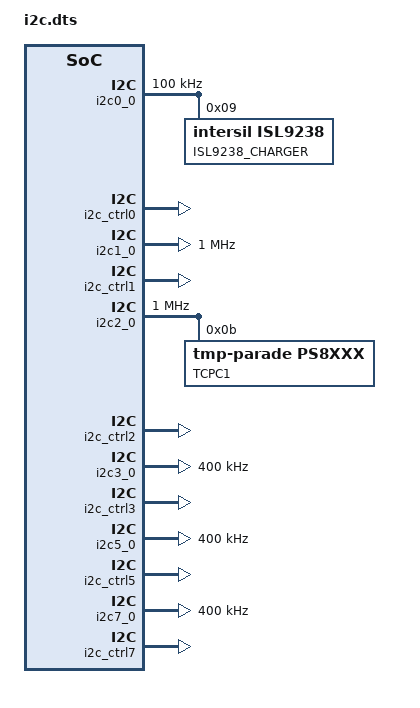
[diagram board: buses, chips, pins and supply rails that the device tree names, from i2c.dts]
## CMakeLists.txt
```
# Copyright 2021 The Chromium OS Authors. All rights reserved.
# Use of this source code is governed by a BSD-style license that can be
# found in the LICENSE file.

cmake_minimum_required(VERSION 3.13.1)

find_package(Zephyr REQUIRED HINTS $ENV{ZEPHYR_BASE})
project(lazor_tcpc_dev)

cros_ec_library_include_directories(include)

zephyr_library_sources_ifdef(CONFIG_PLATFORM_EC_USBC
  "src/power.c"
  "src/usb_pd_policy.c"
  "src/usbc_config.c")

zephyr_library_sources(
  "src/sku.c"
  "src/switchcap.c")

# Board specific implementation
zephyr_library_sources_ifdef(CONFIG_PLATFORM_EC_I2C
  "src/i2c.c")
```

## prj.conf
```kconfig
# Copyright 2021 The Chromium OS Authors. All rights reserved.
# Use of this source code is governed by a BSD-style license that can be
# found in the LICENSE file.

CONFIG_CROS_EC=y

CONFIG_USBC_THREAD_PRIORITY=10
CONFIG_LOG=y

#
# Lazor actually has a NPCX7M6FC, but
# the NPCX7M7FC is actually the same die, without the
# extra RAM being tested. The code size really could
# do with the extra space, so we pretend the EC is the
# part with the larger RAM. YMMV.
#
CONFIG_SOC_NPCX7M7FC=y
CONFIG_SOC_SERIES_NPCX7=y
CONFIG_SHIMMED_TASKS=y
CONFIG_PLATFORM_EC=y
CONFIG_PLATFORM_EC_BRINGUP=y
CONFIG_PLATFORM_EC_EXTPOWER_GPIO=y
CONFIG_PLATFORM_EC_SWITCH=y
CONFIG_PLATFORM_EC_LID_SWITCH=y
CONFIG_PLATFORM_EC_BACKLIGHT_LID=y
CONFIG_PLATFORM_EC_POWER_BUTTON=y

# I2C
CONFIG_I2C=y

# LED
CONFIG_PLATFORM_EC_LED_DT=y

# PWM
CONFIG_PWM=y
CONFIG_PWM_SHELL=n
CONFIG_PLATFORM_EC_PWM_DISPLIGHT=y
CONFIG_PLATFORM_EC_PWM_KBLIGHT=y

# Application Processor is Qualcomm SC7180
CONFIG_AP_ARM_QUALCOMM_SC7180=y

# Board version is selected over GPIO board ID pins.
CONFIG_PLATFORM_EC_BOARD_VERSION_GPIO=y

# LN9310 Switchcap
CONFIG_PLATFORM_EC_SWITCHCAP_LN9310=y

# Power Sequencing
CONFIG_PLATFORM_EC_POWERSEQ=y
CONFIG_PLATFORM_EC_POWERSEQ_HOST_SLEEP=y
CONFIG_PLATFORM_EC_POWER_SLEEP_FAILURE_DETECTION=y
CONFIG_PLATFORM_EC_CHIPSET_RESET_HOOK=y
CONFIG_PLATFORM_EC_CHIPSET_RESUME_INIT_HOOK=y

# Trogdor family does not use EFS2
CONFIG_PLATFORM_EC_VBOOT_EFS2=n

# MKBP event
CONFIG_PLATFORM_EC_MKBP_EVENT=y
CONFIG_PLATFORM_EC_MKBP_USE_GPIO=y

# Keyboard
CONFIG_PLATFORM_EC_KEYBOARD=y
CONFIG_PLATFORM_EC_KEYBOARD_PROTOCOL_MKBP=y
CONFIG_PLATFORM_EC_MKBP_INPUT_DEVICES=y
CONFIG_PLATFORM_EC_KEYBOARD_COL2_INVERTED=y
CONFIG_PLATFORM_EC_VOLUME_BUTTONS=y
CONFIG_PLATFORM_EC_CMD_BUTTON=y
CONFIG_CROS_KB_RAW_NPCX=y

# ADC
CONFIG_PLATFORM_EC_ADC=y
CONFIG_ADC=y
CONFIG_ADC_SHELL=n

# Battery
CONFIG_PLATFORM_EC_BATTERY=y
CONFIG_PLATFORM_EC_BATTERY_SMART=y
CONFIG_PLATFORM_EC_I2C_VIRTUAL_BATTERY=y
CONFIG_PLATFORM_EC_I2C_PASSTHRU_RESTRICTED=y
CONFIG_PLATFORM_EC_BATTERY_FUEL_GAUGE=y
CONFIG_PLATFORM_EC_BATTERY_CUT_OFF=y
CONFIG_PLATFORM_EC_BATTERY_PRESENT_GPIO=y
CONFIG_PLATFORM_EC_CHARGER_ISL9238=y
CONFIG_PLATFORM_EC_CHARGE_RAMP_HW=y
CONFIG_PLATFORM_EC_USE_BATTERY_DEVICE_CHEMISTRY=y
CONFIG_PLATFORM_EC_BATTERY_DEVICE_CHEMISTRY="LION"
CONFIG_PLATFORM_EC_BATTERY_REVIVE_DISCONNECT=y
CONFIG_PLATFORM_EC_CHARGER_DISCHARGE_ON_AC=y
CONFIG_PLATFORM_EC_CHARGER_DISCHARGE_ON_AC_CHARGER=y
CONFIG_PLATFORM_EC_CHARGER_MIN_BAT_PCT_FOR_POWER_ON=2
CONFIG_PLATFORM_EC_CHARGER_MIN_POWER_MW_FOR_POWER_ON=10000
CONFIG_PLATFORM_EC_CHARGER_PROFILE_OVERRIDE=y
CONFIG_PLATFORM_EC_CHARGER_PSYS=y
CONFIG_PLATFORM_EC_CHARGER_PSYS_READ=y
CONFIG_PLATFORM_EC_CHARGER_SENSE_RESISTOR=10
CONFIG_PLATFORM_EC_CHARGER_SENSE_RESISTOR_AC=20
CONFIG_PLATFORM_EC_CONSOLE_CMD_CHARGER_ADC_AMON_BMON=y

# USB-A
CONFIG_PLATFORM_EC_USBA=y

# USB-C
CONFIG_PLATFORM_EC_BC12_DETECT_PI3USB9201=y
CONFIG_PLATFORM_EC_USB_PD_USB32_DRD=n
CONFIG_PLATFORM_EC_USBC_PPC_SN5S330=y
CONFIG_PLATFORM_EC_USBC_RETIMER_FW_UPDATE=n
CONFIG_PLATFORM_EC_USBC_SS_MUX_DFP_ONLY=y
CONFIG_PLATFORM_EC_USB_DRP_ACC_TRYSRC=y
CONFIG_PLATFORM_EC_USB_PD_5V_EN_CUSTOM=y
CONFIG_PLATFORM_EC_USB_PD_VBUS_DETECT_TCPC=y
CONFIG_PLATFORM_EC_USB_PD_DISCHARGE_PPC=y
CONFIG_PLATFORM_EC_USB_PD_REV30=n
CONFIG_PLATFORM_EC_USB_PD_TCPC_LOW_POWER=y
CONFIG_PLATFORM_EC_USB_PD_TCPM_MULTI_PS8XXX=y
CONFIG_PLATFORM_EC_USB_PD_TCPM_PS8751=y
CONFIG_PLATFORM_EC_USB_PD_TCPM_PS8805=y
CONFIG_PLATFORM_EC_USB_PD_TCPC_RUNTIME_CONFIG=n
CONFIG_PLATFORM_EC_USB_MUX_RUNTIME_CONFIG=n
CONFIG_PLATFORM_EC_USB_PD_LOGGING=y

# USB ID
# This is allocated specifically for Trogdor
# http://google3/hardware/standards/usb/
# TODO(b/183608112): Move to device tree
CONFIG_PLATFORM_EC_USB_PID=0x5043

# RTC
CONFIG_PLATFORM_EC_RTC=y
CONFIG_CROS_RTC_NPCX=y
CONFIG_PLATFORM_EC_HOSTCMD_RTC=y
CONFIG_PLATFORM_EC_CONSOLE_CMD_RTC=y

# EC software sync
CONFIG_PLATFORM_EC_VBOOT_HASH=y

# Sensors
CONFIG_PLATFORM_EC_MOTIONSENSE=y
CONFIG_PLATFORM_EC_ACCEL_FIFO=y
CONFIG_PLATFORM_EC_ACCEL_INTERRUPTS=y
CONFIG_PLATFORM_EC_CONSOLE_CMD_ACCELS=y
CONFIG_PLATFORM_EC_CONSOLE_CMD_ACCEL_INFO=y
CONFIG_PLATFORM_EC_GMR_TABLET_MODE=y
CONFIG_PLATFORM_EC_LID_ANGLE=y
CONFIG_PLATFORM_EC_LID_ANGLE_UPDATE=y
CONFIG_PLATFORM_EC_SENSOR_TIGHT_TIMESTAMPS=y
CONFIG_PLATFORM_EC_TABLET_MODE=y
CONFIG_PLATFORM_EC_TABLET_MODE_SWITCH=y

# Sensor Drivers
CONFIG_PLATFORM_EC_ACCEL_BMA255=y
CONFIG_PLATFORM_EC_ACCELGYRO_BMI160=y
CONFIG_PLATFORM_EC_ACCELGYRO_BMI_COMM_I2C=y

# Console history
CONFIG_SHELL_HISTORY=y
CONFIG_SHELL_CMDS=y
CONFIG_SHELL_HELP=n
CONFIG_SHELL_MINIMAL=y

# Taskinfo
CONFIG_THREAD_MONITOR=y
CONFIG_KERNEL_SHELL=y

CONFIG_SYSCON=y

# Features should be enabled. But the code RAM is not enough, disable them.
#CONFIG_PLATFORM_EC_ACCEL_SPOOF_MODE=y
#CONFIG_PLATFORM_EC_EMULATED_SYSRQ=y
```

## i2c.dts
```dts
/* Copyright 2022 The Chromium OS Authors. All rights reserved.
 * Use of this source code is governed by a BSD-style license that can be
 * found in the LICENSE file.
 */

/ {
	named-i2c-ports {
		compatible = "named-i2c-ports";

		i2c_power: power {
			i2c-port = <&i2c0_0>;
			enum-name = "I2C_PORT_POWER";
		};
		battery {
			i2c-port = <&i2c0_0>;
			remote-port = <0>;
			enum-name = "I2C_PORT_BATTERY";
		};
		virtual-battery {
			i2c-port = <&i2c0_0>;
			enum-name = "I2C_PORT_VIRTUAL_BATTERY";
		};
		charger {
			i2c-port = <&i2c0_0>;
			enum-name = "I2C_PORT_CHARGER";
		};
		i2c_tcpc0: tcpc0 {
			i2c-port = <&i2c1_0>;
			enum-name = "I2C_PORT_TCPC0";
		};
		i2c_tcpc1: tcpc1 {
			i2c-port = <&i2c2_0>;
			enum-name = "I2C_PORT_TCPC1";
		};
		i2c_eeprom: eeprom {
			i2c-port = <&i2c5_0>;
			enum-name = "I2C_PORT_EEPROM";
		};
		i2c_sensor: sensor {
			i2c-port = <&i2c7_0>;
			enum-name = "I2C_PORT_SENSOR";
		};
		accel {
			i2c-port = <&i2c7_0>;
			enum-name = "I2C_PORT_ACCEL";
		};
	};

};

&i2c0_0 {
	status = "okay";
	clock-frequency = <I2C_BITRATE_STANDARD>;

	isl9238: isl9238@9 {
		compatible = "intersil,isl9238";
		reg = <0x09>;
		label = "ISL9238_CHARGER";
	};
};

&i2c_ctrl0 {
	status = "okay";
};

&i2c1_0 {
	status = "okay";
	clock-frequency = <I2C_BITRATE_FAST_PLUS>;
};

&i2c_ctrl1 {
	status = "okay";
};

&i2c2_0 {
	status = "okay";
	clock-frequency = <I2C_BITRATE_FAST_PLUS>;

	tcpc1: tcpc1@B {
		status = "okay";
		compatible = "tmp-parade,ps8xxx";
		label = "TCPC1";
		reg = <0x0B>;
	};
};

&i2c_ctrl2 {
	status = "okay";
};

&i2c3_0 {
	/* Not used as no WLC connected */
	clock-frequency = <I2C_BITRATE_FAST>;
};

&i2c_ctrl3 {
	status = "okay";
};

&i2c5_0 {
	status = "okay";
	clock-frequency = <I2C_BITRATE_FAST>;
};

&i2c_ctrl5 {
	status = "okay";
};

&i2c7_0 {
	status = "okay";
	clock-frequency = <I2C_BITRATE_FAST>;
};

&i2c_ctrl7 {
	status = "okay";
};
```

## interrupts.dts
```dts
/* Copyright 2022 The Chromium OS Authors. All rights reserved.
 * Use of this source code is governed by a BSD-style license that can be
 * found in the LICENSE file.
 */

/ {
	aliases {
		int-wp = &int_wp;
	};

	gpio-interrupts {
		compatible = "cros-ec,gpio-interrupts";

		int_ac_present: ac_present {
			irq-pin = <&gpio_acok_od>;
			flags = <GPIO_INT_EDGE_BOTH>;
			handler = "extpower_interrupt";
		};
		int_lid_open: lid_open {
			irq-pin = <&gpio_lid_open_ec>;
			flags = <GPIO_INT_EDGE_BOTH>;
			handler = "lid_interrupt";
		};
		int_wp: wp {
			irq-pin = <&gpio_ec_wp_odl>;
			flags = <GPIO_INT_EDGE_BOTH>;
			handler = "switch_interrupt";
		};
		int_power_button: power_button {
			irq-pin = <&gpio_ec_pwr_btn_odl>;
			flags = <GPIO_INT_EDGE_BOTH>;
			handler = "power_button_interrupt";
		};
		int_volume_up: volume_up {
			irq-pin = <&gpio_ec_volup_btn_odl>;
			flags = <GPIO_INT_EDGE_BOTH>;
			handler = "button_interrupt";
		};
		int_volume_down: volume_down {
			irq-pin = <&gpio_ec_voldn_btn_odl>;
			flags = <GPIO_INT_EDGE_BOTH>;
			handler = "button_interrupt";
		};
		/*
		 * Note this is an active low input, so
		 * the direction is from logical low to
		 * logical high.
		 */
		int_switchcap_pg: switchcap_pg {
			irq-pin = <&gpio_switchcap_pg_int_l>;
			flags = <GPIO_INT_EDGE_RISING>;
			handler = "ln9310_interrupt";
		};
		int_ap_rst: ap_rst {
			irq-pin = <&gpio_ap_rst_l>;
			flags = <GPIO_INT_EDGE_BOTH>;
			handler = "chipset_ap_rst_interrupt";
		};
		int_ap_suspend: ap_suspend {
			irq-pin = <&gpio_ap_suspend>;
			flags = <GPIO_INT_EDGE_BOTH>;
			handler = "power_signal_interrupt";
		};
		int_deprecated_ap_rst_req: deprecated_ap_rst_req {
			irq-pin = <&gpio_deprecated_ap_rst_req>;
			flags = <GPIO_INT_EDGE_BOTH>;
			handler = "power_signal_interrupt";
		};
		int_power_good: power_good {
			irq-pin = <&gpio_power_good>;
			flags = <GPIO_INT_EDGE_BOTH>;
			handler = "chipset_power_good_interrupt";
		};
		int_ps_hold: ps_hold {
			irq-pin = <&gpio_ps_hold>;
			flags = <GPIO_INT_EDGE_BOTH>;
			handler = "power_signal_interrupt";
		};
		int_warm_reset: warm_reset {
			irq-pin = <&gpio_warm_reset_l>;
			flags = <GPIO_INT_EDGE_BOTH>;
			handler = "chipset_warm_reset_interrupt";
		};
		int_usb_c0_tcpc: usb_c0_tcpc {
			irq-pin = <&gpio_usb_c0_pd_int_odl>;
			flags = <GPIO_INT_EDGE_FALLING>;
			handler = "tcpc_alert_event";
		};
		int_usb_c1_tcpc: usb_c1_tcpc {
			irq-pin = <&gpio_usb_c1_pd_int_odl>;
			flags = <GPIO_INT_EDGE_FALLING>;
			handler = "tcpc_alert_event";
		};
		int_usb_c0_swctl: usb_c0_swctl {
			irq-pin = <&gpio_usb_c0_swctl_int_odl>;
			flags = <GPIO_INT_EDGE_FALLING>;
			handler = "ppc_interrupt";
		};
		int_usb_c1_swctl: usb_c1_swctl {
			irq-pin = <&gpio_usb_c1_swctl_int_odl>;
			flags = <GPIO_INT_EDGE_FALLING>;
			handler = "ppc_interrupt";
		};
		int_usb_c0_bc12: usb_c0_bc12 {
			irq-pin = <&gpio_usb_c0_bc12_int_l>;
			flags = <GPIO_INT_EDGE_FALLING>;
			handler = "usb0_evt";
		};
/*
		int_usb_c1_bc12: usb_c1_bc12 {
			irq-pin = <&gpio_usb_c1_bc12_int_l>;
			flags = <GPIO_INT_EDGE_FALLING>;
			handler = "usb1_evt";
		};
*/
		int_usb_a0_oc: usb_a0_oc {
			irq-pin = <&gpio_usb_a0_oc_odl>;
			flags = <GPIO_INT_EDGE_BOTH>;
			handler = "usba_oc_interrupt";
		};
		int_ccd_mode: ccd_mode {
			irq-pin = <&gpio_ccd_mode_odl>;
			flags = <GPIO_INT_EDGE_FALLING>;
			handler = "board_connect_c0_sbu";
		};
		int_accel: accel {
			irq-pin = <&gpio_accel_gyro_int_l>;
			flags = <GPIO_INT_EDGE_FALLING>;
			handler = "bmi160_interrupt";
		};
		int_tablet_mode: tablet_mode {
			irq-pin = <&gpio_tablet_mode_l>;
			flags = <GPIO_INT_EDGE_BOTH>;
			handler = "gmr_tablet_switch_isr";
		};
		int_ec_rst: ec_rst {
			irq-pin = <&gpio_ec_rst_odl>;
			flags = <GPIO_INT_EDGE_FALLING>;
			handler = "wake_isr";
		};
	};
};
```

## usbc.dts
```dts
/* Copyright 2022 The Chromium OS Authors. All rights reserved.
 * Use of this source code is governed by a BSD-style license that can be
 * found in the LICENSE file.
 */

/ {
	usbc {
		#address-cells = <1>;
		#size-cells = <0>;

		/* TODO(b/227359762): lazor: move UBC-C configuration into the
		 * devicetree
		 */
		port0@0 {
			compatible = "named-usbc-port";
			reg = <0>;

			bc12 {
				compatible = "pericom,pi3usb9201";
				status = "okay";
				irq = <&int_usb_c0_bc12>;
				port = <&i2c_power>;
				i2c-addr-flags = "PI3USB9201_I2C_ADDR_3_FLAGS";
			};

			tcpc {
				compatible = "parade,ps8xxx";
				status = "okay";
				port = <&i2c_tcpc0>;
				i2c-addr-flags = "PS8XXX_I2C_ADDR1_FLAGS";
			};

			ppc {
				compatible = "ti,sn5s330";
				status = "okay";
				port = <&i2c_tcpc0>;
				i2c-addr-flags = "SN5S330_ADDR0_FLAGS";
			};
		};

		port1@1 {
/*			compatible = "named-usbc-port"; */
			reg = <1>;
/*
			bc12 {
				compatible = "pericom,pi3usb9201";
				status = "okay";
				irq = <&int_usb_c1_bc12>;
				port = <&i2c_eeprom>;
				i2c-addr-flags = "PI3USB9201_I2C_ADDR_3_FLAGS";
			};
*/
			tcpc {
				compatible = "usbc-port";
				status = "okay";
				tcpc = <&tcpc1>;
				connection-state-machine-type = "SNK_ONLY_PORT";
			};
/*
			ppc {
				compatible = "ti,sn5s330";
				status = "okay";
				port = <&i2c_tcpc1>;
				i2c-addr-flags = "SN5S330_ADDR0_FLAGS";
			};
*/
		};
	};
};
```

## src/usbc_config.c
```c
/* Copyright 2022 The Chromium OS Authors. All rights reserved.
 * Use of this source code is governed by a BSD-style license that can be
 * found in the LICENSE file.
 */

/* Lazor board-specific USB-C configuration */

#include "battery_fuel_gauge.h"
#include "bc12/pi3usb9201_public.h"
#include "charger.h"
#include "charger/isl923x_public.h"
#include "charge_manager.h"
#include "charge_state.h"
#include "common.h"
#include "config.h"
#include "driver/ln9310.h"
#include "gpio_signal.h"
#include "gpio/gpio_int.h"
#include "hooks.h"
#include "ppc/sn5s330_public.h"
#include "system.h"
#include "tcpm/ps8xxx_public.h"
#include "tcpm/tcpci.h"
#include "timer.h"
#include "usb_pd.h"
#include "usb_mux.h"
#include "usbc_ocp.h"
#include "usbc_ppc.h"

#define CPRINTS(format, args...) cprints(CC_USBCHARGE, format, ## args)
#define CPRINTF(format, args...) cprintf(CC_USBCHARGE, format, ## args)

const struct charger_config_t chg_chips[] = {
	{
		.i2c_port = I2C_PORT_CHARGER,
		.i2c_addr_flags = ISL923X_ADDR_FLAGS,
		.drv = &isl923x_drv,
	},
};

int charger_profile_override(struct charge_state_data *curr)
{
	int usb_mv;
	int port;

	if (curr->state != ST_CHARGE)
		return 0;

	/* Lower the max requested voltage to 5V when battery is full. */
	if (chipset_in_state(CHIPSET_STATE_ANY_OFF) &&
	    !(curr->batt.flags & BATT_FLAG_BAD_STATUS) &&
	    !(curr->batt.flags & BATT_FLAG_WANT_CHARGE) &&
	    (curr->batt.status & STATUS_FULLY_CHARGED))
		usb_mv = 5000;
	else
		usb_mv = PD_MAX_VOLTAGE_MV;

	if (pd_get_max_voltage() != usb_mv) {
		CPRINTS("VBUS limited to %dmV", usb_mv);
		for (port = 0; port < CONFIG_USB_PD_PORT_MAX_COUNT; port++)
			pd_set_external_voltage_limit(port, usb_mv);
	}

	return 0;
}

enum ec_status charger_profile_override_get_param(uint32_t param,
						  uint32_t *value)
{
	return EC_RES_INVALID_PARAM;
}

enum ec_status charger_profile_override_set_param(uint32_t param,
						  uint32_t value)
{
	return EC_RES_INVALID_PARAM;
}

static void usba_oc_deferred(void)
{
	/* Use next number after all USB-C ports to indicate the USB-A port */
	board_overcurrent_event(CONFIG_USB_PD_PORT_MAX_COUNT,
				!gpio_pin_get_dt(GPIO_DT_FROM_NODELABEL(
					gpio_usb_a0_oc_odl)));
}
DECLARE_DEFERRED(usba_oc_deferred);

void usba_oc_interrupt(enum gpio_signal signal)
{
	hook_call_deferred(&usba_oc_deferred_data, 0);
}

void ppc_interrupt(enum gpio_signal signal)
{
	switch (signal) {
	case GPIO_SIGNAL(DT_NODELABEL(gpio_usb_c0_swctl_int_odl)):
		sn5s330_interrupt(0);
		break;
	case GPIO_SIGNAL(DT_NODELABEL(gpio_usb_c1_swctl_int_odl)):
		sn5s330_interrupt(1);
		break;
	default:
		break;
	}
}

static void board_connect_c0_sbu_deferred(void)
{
	/*
	 * If CCD_MODE_ODL asserts, it means there's a debug accessory connected
	 * and we should enable the SBU FETs.
	 */
	ppc_set_sbu(0, 1);
}
DECLARE_DEFERRED(board_connect_c0_sbu_deferred);

void board_connect_c0_sbu(enum gpio_signal s)
{
	hook_call_deferred(&board_connect_c0_sbu_deferred_data, 0);
}

/* GPIO Interrupt Handlers */
void tcpc_alert_event(enum gpio_signal signal)
{
	int port = -1;

	switch (signal) {
	case GPIO_USB_C0_PD_INT_ODL:
		port = 0;
		break;
	case GPIO_USB_C1_PD_INT_ODL:
		port = 1;
		break;
	default:
		return;
	}

	schedule_deferred_pd_interrupt(port);
}

/*
 * Port-0/1 USB mux driver.
 *
 * The USB mux is handled by TCPC chip and the HPD update is through a GPIO
 * to AP. But the TCPC chip is also needed to know the HPD status; otherwise,
 * the mux misbehaves.
 */
const struct usb_mux usb_muxes[CONFIG_USB_PD_PORT_MAX_COUNT] = {
	{
		.usb_port = 0,
		.driver = &tcpci_tcpm_usb_mux_driver,
		.hpd_update = &ps8xxx_tcpc_update_hpd_status,
	},
/*
	{
		.usb_port = 1,
		.driver = &tcpci_tcpm_usb_mux_driver,
		.hpd_update = &ps8xxx_tcpc_update_hpd_status,
	}
*/
};

__override int board_get_default_battery_type(void)
{
	/*
	 * A 2S battery is set as default. If the board is configured to use
	 * a 3S battery, according to its SKU_ID, return a 3S battery as
	 * default. It helps to configure the charger to output a correct
	 * voltage in case the battery is not attached.
	 */
	if (board_get_battery_cell_type() == BATTERY_CELL_TYPE_3S)
		return BATTERY_LGC_AP18C8K;

	return DEFAULT_BATTERY_TYPE;
}

/* Initialize board USC-C things */
static void board_init_usbc(void)
{
	/* Enable USB-A overcurrent interrupt */
	gpio_enable_dt_interrupt(GPIO_INT_FROM_NODELABEL(int_usb_a0_oc));
	/*
	 * The H1 SBU line for CCD are behind PPC chip. The PPC internal FETs
	 * for SBU may be disconnected after DP alt mode is off. Should enable
	 * the CCD_MODE_ODL interrupt to make sure the SBU FETs are connected.
	 */
	gpio_enable_dt_interrupt(GPIO_INT_FROM_NODELABEL(int_ccd_mode));
}
DECLARE_HOOK(HOOK_INIT, board_init_usbc, HOOK_PRIO_DEFAULT);

void board_tcpc_init(void)
{
	/* Only reset TCPC if not sysjump */
	if (!system_jumped_late()) {
		/* TODO(crosbug.com/p/61098): How long do we need to wait? */
		board_reset_pd_mcu();
	}

	/* Enable PPC interrupts */
	gpio_enable_dt_interrupt(GPIO_INT_FROM_NODELABEL(int_usb_c0_swctl));

	/* Enable TCPC interrupts */
	gpio_enable_dt_interrupt(GPIO_INT_FROM_NODELABEL(int_usb_c0_tcpc));
	gpio_enable_dt_interrupt(GPIO_INT_FROM_NODELABEL(int_usb_c0_tcpc));

	/*
	 * Initialize HPD to low; after sysjump SOC needs to see
	 * HPD pulse to enable video path
	 */
	for (int port = 0; port < CONFIG_USB_PD_PORT_MAX_COUNT; ++port)
		usb_mux_hpd_update(port, USB_PD_MUX_HPD_LVL_DEASSERTED |
					 USB_PD_MUX_HPD_IRQ_DEASSERTED);
}
DECLARE_HOOK(HOOK_INIT, board_tcpc_init, HOOK_PRIO_POST_I2C);

void board_reset_pd_mcu(void)
{
	cprints(CC_USB, "Resetting TCPCs...");
	cflush();

	gpio_pin_set_dt(GPIO_DT_FROM_NODELABEL(gpio_usb_c0_pd_rst_l), 0);
	gpio_pin_set_dt(GPIO_DT_FROM_NODELABEL(gpio_usb_c1_pd_rst_l), 0);
	msleep(PS8XXX_RESET_DELAY_MS);
	gpio_pin_set_dt(GPIO_DT_FROM_NODELABEL(gpio_usb_c0_pd_rst_l), 1);
	gpio_pin_set_dt(GPIO_DT_FROM_NODELABEL(gpio_usb_c1_pd_rst_l), 1);
}

void board_set_tcpc_power_mode(int port, int mode)
{
	/* Ignore the "mode" to turn the chip on.  We can only do a reset. */
	if (mode)
		return;

	board_reset_pd_mcu();
}

int board_vbus_sink_enable(int port, int enable)
{
	/* Both ports are controlled by PPC SN5S330 */
	return ppc_vbus_sink_enable(port, enable);
}

int board_is_sourcing_vbus(int port)
{
	/* Both ports are controlled by PPC SN5S330 */
	return ppc_is_sourcing_vbus(port);
}

void board_overcurrent_event(int port, int is_overcurrented)
{
	/* TODO(b/120231371): Notify AP */
	CPRINTS("p%d: overcurrent!", port);
}

int board_set_active_charge_port(int port)
{
	int is_real_port = (port >= 0 &&
			    port < CONFIG_USB_PD_PORT_MAX_COUNT);
	int i;

	if (!is_real_port && port != CHARGE_PORT_NONE)
		return EC_ERROR_INVAL;

	if (port == CHARGE_PORT_NONE) {
		CPRINTS("Disabling all charging port");

		/* Disable all ports. */
		for (i = 0; i < CONFIG_USB_PD_PORT_MAX_COUNT; i++) {
			/*
			 * Do not return early if one fails otherwise we can
			 * get into a boot loop assertion failure.
			 */
			if (board_vbus_sink_enable(i, 0))
				CPRINTS("Disabling p%d sink path failed.", i);
		}

		return EC_SUCCESS;
	}

	/* Check if the port is sourcing VBUS. */
	if (board_is_sourcing_vbus(port)) {
		CPRINTS("Skip enable p%d", port);
		return EC_ERROR_INVAL;
	}


	CPRINTS("New charge port: p%d", port);

	/*
	 * Turn off the other ports' sink path FETs, before enabling the
	 * requested charge port.
	 */
	for (i = 0; i < CONFIG_USB_PD_PORT_MAX_COUNT; i++) {
		if (i == port)
			continue;

		if (board_vbus_sink_enable(i, 0))
			CPRINTS("p%d: sink path disable failed.", i);
	}

	/* Enable requested charge port. */
	if (board_vbus_sink_enable(port, 1)) {
		CPRINTS("p%d: sink path enable failed.", port);
		return EC_ERROR_UNKNOWN;
	}

	return EC_SUCCESS;
}

void board_set_charge_limit(int port, int supplier, int charge_ma,
			    int max_ma, int charge_mv)
{
	/*
	 * Ignore lower charge ceiling on PD transition if our battery is
	 * critical, as we may brownout.
	 */
	if (supplier == CHARGE_SUPPLIER_PD &&
	    charge_ma < 1500 &&
	    charge_get_percent() < CONFIG_CHARGER_MIN_BAT_PCT_FOR_POWER_ON) {
		CPRINTS("Using max ilim %d", max_ma);
		charge_ma = max_ma;
	}

	charge_set_input_current_limit(MAX(charge_ma,
					   CONFIG_CHARGER_INPUT_CURRENT),
				       charge_mv);
}

uint16_t tcpc_get_alert_status(void)
{
	uint16_t status = 0;

	if (!gpio_pin_get_dt(GPIO_DT_FROM_NODELABEL(gpio_usb_c0_pd_int_odl)))
		if (gpio_pin_get_dt(
			GPIO_DT_FROM_NODELABEL(gpio_usb_c0_pd_rst_l)))
			status |= PD_STATUS_TCPC_ALERT_0;
	if (!gpio_pin_get_dt(GPIO_DT_FROM_NODELABEL(gpio_usb_c0_pd_int_odl)))
		if (gpio_pin_get_dt(
			GPIO_DT_FROM_NODELABEL(gpio_usb_c1_pd_rst_l)))
			status |= PD_STATUS_TCPC_ALERT_1;

	return status;
}
```
